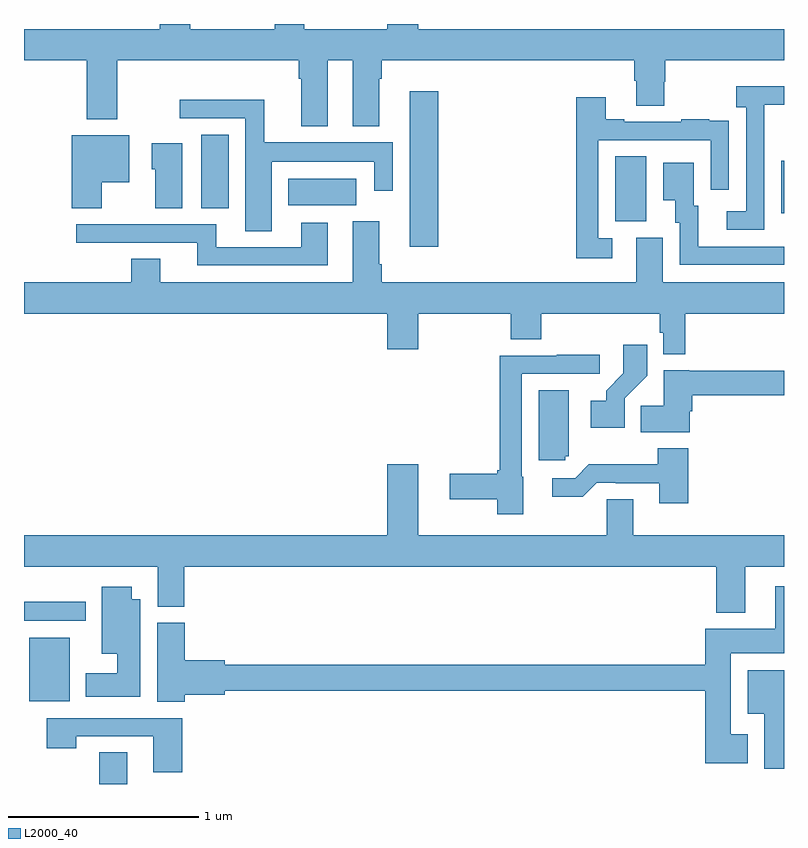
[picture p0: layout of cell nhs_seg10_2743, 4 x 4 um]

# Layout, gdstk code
import gdstk
lib = gdstk.Library(unit=1e-6, precision=1e-09)
def R(c, l, rs):  # rectangles x0, y0, x1, y1
    for r in rs: c.add(gdstk.rectangle(r[:2], r[2:], *l))
def P(c, l, *ps):  # polygons
    for p in ps: c.add(gdstk.Polygon(p, *l))
L2000_40 = (2000, 40)

nhs_seg10_2743 = lib.new_cell('nhs_seg10_2743')
R(nhs_seg10_2743, L2000_40, [(259.396,1304.5,259.543,1304.666), (259.028,1304.936,259.24,1305.271), (259,1305.36,259.324,1305.458), (261.029,1307.328,261.179,1308.145), (262.112,1307.461,262.276,1307.804), (262.985,1307.505,263,1307.779), (259.934,1307.53,260.077,1307.918), (260.39,1307.546,260.749,1307.686)])
P(nhs_seg10_2743, L2000_40, [(259.715,1308.5),(259.715,1308.472),(259,1308.472),(259,1308.308),(259.331,1308.308),(259.331,1307.999),(259.491,1307.999),(259.491,1308.308),(260.447,1308.308),(260.447,1308.212),(260.459,1308.212),(260.459,1307.963),(260.599,1307.963),(260.599,1308.308),(260.729,1308.308),(260.729,1307.963),(260.869,1307.963),(260.869,1308.212),(260.882,1308.212),(260.882,1308.308),(262.211,1308.308),(262.211,1308.202),(262.223,1308.202),(262.223,1308.07),(262.371,1308.07),(262.371,1308.195),(262.376,1308.195),(262.376,1308.308),(263,1308.308),(263,1308.472),(261.076,1308.472),(261.076,1308.5),(260.912,1308.5),(260.912,1308.472),(260.475,1308.472),(260.475,1308.5),(260.32,1308.5),(260.32,1308.472),(259.875,1308.472),(259.875,1308.5)],
  [(262.896,1307.875),(262.897,1307.875),(262.897,1308.075),(263,1308.075),(263,1308.172),(262.749,1308.172),(262.749,1308.062),(262.8,1308.062),(262.8,1307.514),(262.698,1307.514),(262.698,1307.418),(262.896,1307.418)],
  [(262.096,1307.373),(262.023,1307.373),(262.023,1307.889),(262.614,1307.889),(262.614,1307.628),(262.71,1307.628),(262.71,1307.882),(262.709,1307.882),(262.709,1307.991),(262.607,1307.991),(262.607,1307.998),(262.459,1307.998),(262.459,1307.985),(262.159,1307.985),(262.159,1307.998),(262.063,1307.998),(262.063,1308.115),(261.907,1308.115),(261.907,1307.268),(262.096,1307.268)],
  [(260.305,1307.774),(260.844,1307.774),(260.844,1307.622),(260.94,1307.622),(260.94,1307.878),(260.264,1307.878),(260.264,1308.101),(259.821,1308.101),(259.821,1308.003),(260.165,1308.003),(260.165,1307.41),(260.305,1307.41)],
  [(259.408,1307.666),(259.555,1307.666),(259.555,1307.914),(259.25,1307.914),(259.25,1307.53),(259.408,1307.53)],
  [(259.834,1307.872),(259.673,1307.872),(259.673,1307.736),(259.691,1307.736),(259.691,1307.53),(259.834,1307.53)],
  [(263,1307.328),(262.549,1307.328),(262.549,1307.544),(262.525,1307.544),(262.525,1307.77),(262.364,1307.77),(262.364,1307.573),(262.427,1307.573),(262.427,1307.454),(262.452,1307.454),(262.452,1307.232),(263,1307.232)],
  [(262.481,1306.976),(263,1306.976),(263,1307.14),(262.363,1307.14),(262.363,1307.376),(262.223,1307.376),(262.223,1307.14),(260.882,1307.14),(260.882,1307.236),(260.869,1307.236),(260.869,1307.461),(260.729,1307.461),(260.729,1307.14),(259.717,1307.14),(259.717,1307.264),(259.565,1307.264),(259.565,1307.14),(259,1307.14),(259,1306.976),(260.912,1306.976),(260.912,1306.788),(261.076,1306.788),(261.076,1306.976),(261.562,1306.976),(261.562,1306.84),(261.722,1306.84),(261.722,1306.976),(262.345,1306.976),(262.345,1306.875),(262.365,1306.875),(262.365,1306.763),(262.481,1306.763)],
  [(260.599,1307.455),(260.459,1307.455),(260.459,1307.325),(260.011,1307.325),(260.011,1307.445),(259.275,1307.445),(259.275,1307.349),(259.913,1307.349),(259.913,1307.229),(260.599,1307.229)],
  [(262.161,1306.531),(262.28,1306.65),(262.28,1306.813),(262.155,1306.813),(262.155,1306.661),(262.064,1306.571),(262.064,1306.516),(261.984,1306.516),(261.984,1306.376),(262.161,1306.376)],
  [(261.628,1306.116),(261.621,1306.116),(261.621,1306.659),(262.029,1306.659),(262.029,1306.758),(261.805,1306.758),(261.805,1306.755),(261.505,1306.755),(261.505,1306.151),(261.492,1306.151),(261.492,1306.133),(261.24,1306.133),(261.24,1305.998),(261.492,1305.998),(261.492,1305.92),(261.628,1305.92)],
  [(262.504,1306.463),(262.517,1306.463),(262.517,1306.546),(263,1306.546),(263,1306.675),(262.5,1306.675),(262.5,1306.678),(262.367,1306.678),(262.367,1306.49),(262.246,1306.49),(262.246,1306.352),(262.504,1306.352)],
  [(261.849,1306.224),(261.868,1306.224),(261.868,1306.573),(261.71,1306.573),(261.71,1306.203),(261.849,1306.203)],
  [(262.496,1306.267),(262.336,1306.267),(262.336,1306.183),(261.973,1306.183),(261.9,1306.11),(261.779,1306.11),(261.779,1306.013),(261.941,1306.013),(262.014,1306.086),(262.114,1306.086),(262.114,1306.083),(262.343,1306.083),(262.343,1305.978),(262.496,1305.978)],
  [(262.643,1305.401),(262.795,1305.401),(262.795,1305.644),(263,1305.644),(263,1305.808),(262.207,1305.808),(262.207,1305.998),(262.068,1305.998),(262.068,1305.808),(261.076,1305.808),(261.076,1306.183),(260.912,1306.183),(260.912,1305.808),(259,1305.808),(259,1305.644),(259.703,1305.644),(259.703,1305.433),(259.844,1305.433),(259.844,1305.644),(262.643,1305.644)],
  [(262.81,1304.761),(262.72,1304.761),(262.72,1305.188),(263,1305.188),(263,1305.541),(262.955,1305.541),(262.955,1305.316),(262.586,1305.316),(262.586,1305.128),(260.056,1305.128),(260.056,1305.152),(259.847,1305.152),(259.847,1305.348),(259.7,1305.348),(259.7,1304.932),(259.847,1304.932),(259.847,1304.969),(260.056,1304.969),(260.056,1304.992),(262.586,1304.992),(262.586,1304.609),(262.81,1304.609)],
  [(259.612,1305.472),(259.567,1305.472),(259.567,1305.538),(259.409,1305.538),(259.409,1305.185),(259.49,1305.185),(259.49,1305.082),(259.325,1305.082),(259.325,1304.96),(259.612,1304.96)],
  [(263,1305.1),(262.808,1305.1),(262.808,1304.87),(262.895,1304.87),(262.895,1304.58),(263,1304.58)],
  [(259.832,1304.847),(259.119,1304.847),(259.119,1304.688),(259.275,1304.688),(259.275,1304.751),(259.679,1304.751),(259.679,1304.562),(259.832,1304.562)])

lib.write_gds('nhs_seg10_2743.gds')
